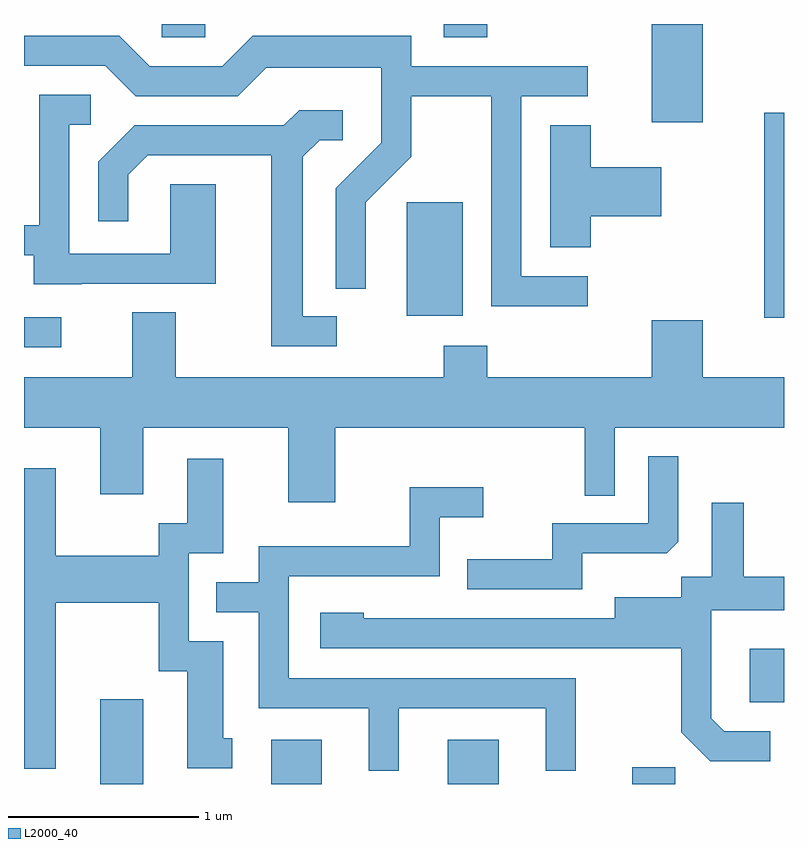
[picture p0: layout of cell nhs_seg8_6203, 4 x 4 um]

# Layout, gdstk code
import gdstk
lib = gdstk.Library(unit=1e-6, precision=1e-09)
def R(c, l, rs):  # rectangles x0, y0, x1, y1
    for r in rs: c.add(gdstk.rectangle(r[:2], r[2:], *l))
def P(c, l, *ps):  # polygons
    for p in ps: c.add(gdstk.Polygon(p, *l))
L2000_40 = (2000, 40)

nhs_seg8_6203 = lib.new_cell('nhs_seg8_6203')
R(nhs_seg8_6203, L2000_40, [(372.011,1812.342,372.239,1812.789), (372.911,1812.342,373.179,1812.574), (373.841,1812.342,374.109,1812.574), (374.811,1812.342,375.039,1812.429), (375.431,1812.771,375.611,1813.054), (371.611,1814.641,371.808,1814.799), (375.506,1814.796,375.611,1815.874), (373.626,1814.806,373.919,1815.404), (374.916,1815.826,375.184,1816.342), (372.336,1816.271,372.564,1816.342), (373.821,1816.271,374.049,1816.342)])
P(nhs_seg8_6203, L2000_40, [(374.578,1815.014),(374.229,1815.014),(374.229,1815.961),(374.578,1815.961),(374.578,1816.119),(373.649,1816.119),(373.649,1816.279),(372.814,1816.279),(372.654,1816.119),(372.272,1816.119),(372.112,1816.279),(371.611,1816.279),(371.611,1816.121),(372.039,1816.121),(372.199,1815.961),(372.737,1815.961),(372.887,1816.111),(373.491,1816.111),(373.491,1815.717),(373.251,1815.477),(373.251,1814.948),(373.409,1814.948),(373.409,1815.404),(373.649,1815.644),(373.649,1815.961),(374.071,1815.961),(374.071,1814.856),(374.578,1814.856)],
  [(371.915,1814.976),(372.619,1814.976),(372.619,1815.499),(372.381,1815.499),(372.381,1815.134),(371.849,1815.134),(371.849,1815.811),(371.963,1815.811),(371.963,1815.969),(371.691,1815.969),(371.691,1815.284),(371.611,1815.284),(371.611,1815.126),(371.661,1815.126),(371.661,1814.971),(371.915,1814.971)],
  [(373.258,1814.804),(373.079,1814.804),(373.079,1815.644),(373.167,1815.731),(373.288,1815.731),(373.288,1815.889),(373.059,1815.889),(372.979,1815.809),(372.194,1815.809),(372.001,1815.617),(372.001,1815.303),(372.159,1815.303),(372.159,1815.549),(372.262,1815.651),(372.911,1815.651),(372.911,1814.646),(373.258,1814.646)],
  [(374.594,1815.331),(374.964,1815.331),(374.964,1815.589),(374.594,1815.589),(374.594,1815.809),(374.381,1815.809),(374.381,1815.166),(374.594,1815.166)],
  [(373.249,1814.216),(374.561,1814.216),(374.561,1813.858),(374.719,1813.858),(374.719,1814.216),(375.611,1814.216),(375.611,1814.484),(375.184,1814.484),(375.184,1814.784),(374.916,1814.784),(374.916,1814.484),(374.049,1814.484),(374.049,1814.649),(373.821,1814.649),(373.821,1814.484),(372.409,1814.484),(372.409,1814.824),(372.181,1814.824),(372.181,1814.484),(371.611,1814.484),(371.611,1814.216),(372.011,1814.216),(372.011,1813.866),(372.239,1813.866),(372.239,1814.216),(373.001,1814.216),(373.001,1813.826),(373.249,1813.826)],
  [(374.549,1813.556),(374.994,1813.556),(375.054,1813.617),(375.054,1814.068),(374.896,1814.068),(374.896,1813.714),(374.391,1813.714),(374.391,1813.524),(373.943,1813.524),(373.943,1813.366),(374.549,1813.366)],
  [(371.779,1813.296),(372.321,1813.296),(372.321,1812.936),(372.471,1812.936),(372.471,1812.426),(372.708,1812.426),(372.708,1812.584),(372.659,1812.584),(372.659,1813.094),(372.479,1813.094),(372.479,1813.556),(372.659,1813.556),(372.659,1814.054),(372.471,1814.054),(372.471,1813.714),(372.321,1813.714),(372.321,1813.544),(371.779,1813.544),(371.779,1814.004),(371.611,1814.004),(371.611,1812.421),(371.779,1812.421)],
  [(373.584,1812.741),(374.356,1812.741),(374.356,1812.413),(374.514,1812.413),(374.514,1812.899),(373.004,1812.899),(373.004,1813.436),(373.799,1813.436),(373.799,1813.746),(374.028,1813.746),(374.028,1813.904),(373.641,1813.904),(373.641,1813.594),(372.846,1813.594),(372.846,1813.404),(372.623,1813.404),(372.623,1813.246),(372.846,1813.246),(372.846,1812.741),(373.426,1812.741),(373.426,1812.413),(373.584,1812.413)],
  [(375.538,1812.619),(375.297,1812.619),(375.229,1812.687),(375.229,1813.256),(375.611,1813.256),(375.611,1813.434),(375.399,1813.434),(375.399,1813.823),(375.231,1813.823),(375.231,1813.434),(375.071,1813.434),(375.071,1813.324),(374.721,1813.324),(374.721,1813.214),(373.399,1813.214),(373.399,1813.244),(373.171,1813.244),(373.171,1813.056),(375.071,1813.056),(375.071,1812.614),(375.224,1812.461),(375.538,1812.461)])

lib.write_gds('nhs_seg8_6203.gds')
